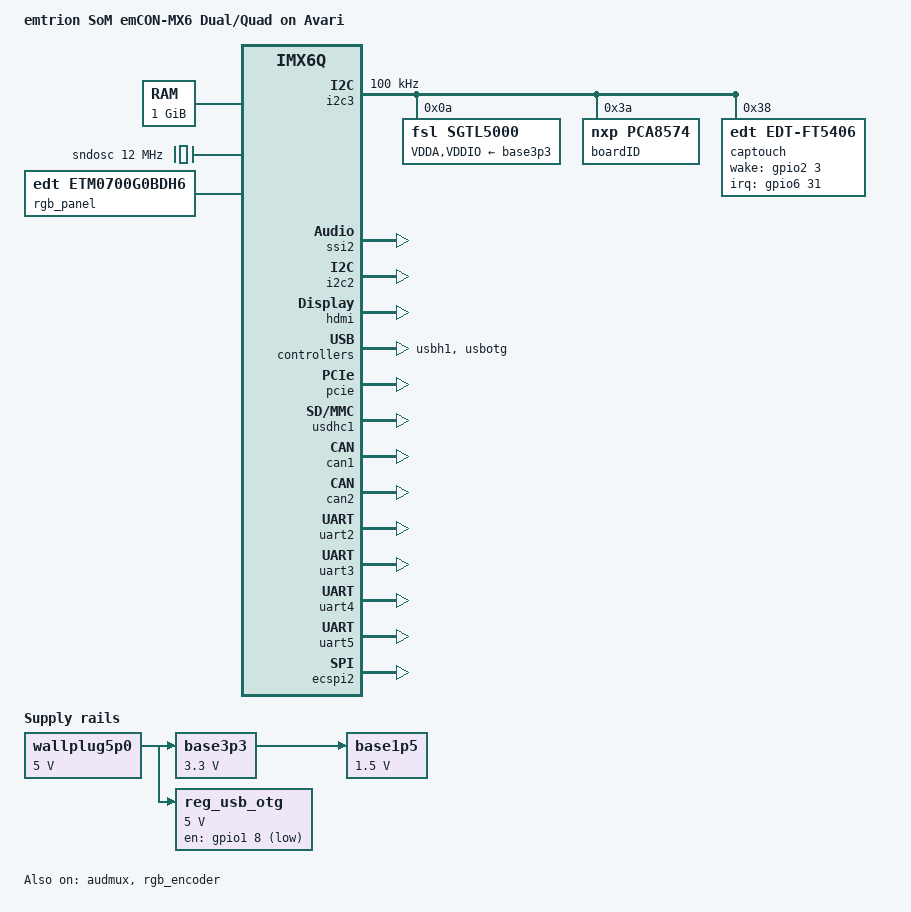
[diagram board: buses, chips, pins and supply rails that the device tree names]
/*
 * Copyright (C) 2017 emtrion GmbH
 * Author: Jan Tuerk  <jan.tuerk@emtrion.com>
 *
 * The code contained herein is licensed under the GNU General Public
 * License. You may obtain a copy of the GNU General Public License
 * Version 2 or later at the following locations:
 *
 * http://www.opensource.org/licenses/gpl-license.html
 * http://www.gnu.org/copyleft/gpl.html
 *
 * SPDX-License-Identifier: GPL-2.0
 *
 */

/dts-v1/;
#include "imx6q.dtsi"
#include "imx6qdl-emcon.dtsi"
#include "imx6q-emcon.dtsi" /*Include camera2 pinmux*/

/ {
	model = "emtrion SoM emCON-MX6 Dual/Quad on Avari";
	compatible = "emtrion,emcon-mx6-avari", "fsl,imx6q";

	aliases {
		mmc0 = &usdhc3;
		mmc2 = &usdhc1;
		mmc1 = &usdhc2;
		mmc3 = &usdhc4;
	};

	chosen {
		stdout-path = <&uart1>;
	};

	memory {
		reg = <0x10000000 0x40000000>;
	};

	supplies {
		compatible = "simple-bus";
		#address-cells = <1>;
		#size-cells = <0>;

		wallplug5p0: supply@0 {
			compatible = "regulator-fixed";
			reg = <0>;
			regulator-name = "WALL-PLUG";
			regulator-min-microvolt = <5000000>;
			regulator-max-microvolt = <5000000>;
			regulator-always-on;
			regulator-boot-on;
		};

		base3p3: supply@1 {
			compatible = "regulator-fixed";
			reg = <1>;
			vin-supply = <&wallplug5p0>;
			regulator-name = "3V3-avari";
			regulator-min-microvolt = <3300000>;
			regulator-max-microvolt = <3300000>;
			regulator-always-on;
			regulator-boot-on;
		};

		base1p5: supply@2 {
			compatible = "regulator-fixed";
			reg = <2>;
			vin-supply = <&base3p3>;
			regulator-name = "1V5-avari";
			regulator-min-microvolt = <1500000>;
			regulator-max-microvolt = <1500000>;
			regulator-always-on;
			regulator-boot-on;
		};

		reg_usb_otg: otgvbus@3 {
			compatible = "regulator-fixed";
			reg = <3>;
			vin-supply = <&wallplug5p0>;
			regulator-name = "OTG_VBUS";
			regulator-min-microvolt = <5000000>;
			regulator-max-microvolt = <5000000>;
			gpio = <&gpio1 8 GPIO_ACTIVE_LOW>;
			regulator-always-on;
		};

	};


	sndosc: 12MHZosc {
		compatible = "fixed-clock";
		#clock-cells = <0>;
		clock-frequency  = <12000000>;
	};

	sound {
		compatible = "fsl,imx-audio-sgtl5000";
		model = "emCON-avari-sgtl5000";
		ssi-controller = <&ssi2>;
		audio-codec = <&sgtl5000>;
		audio-routing =
			"Headphone Jack", "HP_OUT";
		mux-int-port = <2>;
		mux-ext-port = <3>;
	};

};


&iomuxc {
	pinctrl-names = "default";
	/*Unused emCON-MX6 pingroups on AVARI baseboard, enable defaults*/
	pinctrl-0 = <
				 &pinctrl_emcon_gpio1 &pinctrl_emcon_gpio2
				 &pinctrl_emcon_gpio3 &pinctrl_emcon_gpio5
				 &pinctrl_emcon_gpio6 &pinctrl_emcon_gpio7
				 &pinctrl_emcon_gpio8 &pinctrl_emcon_irq_a
				 &pinctrl_emcon_irq_b &pinctrl_emcon_irq_c
				 &pinctrl_emcon_irq_pwr &pinctrl_nor_flash
				 &pinctrl_usdhc2
				 &pinctrl_spdif_out     &pinctrl_spdif_in
				 &pinctrl_cpi1          &pinctrl_cpi2
				>;
};

&audmux {
	pinctrl-names = "default";
	pinctrl-0 = <&pinctrl_audmux>;
	status = "okay";
};



&i2c3 {
	clock-frequency = <100000>;
	pinctrl-names = "default";
	pinctrl-0 = <&pinctrl_i2c3>;
	status = "okay";

	sgtl5000: audo-codec@0a {
		compatible = "fsl,sgtl5000";
		reg = <0x0a>;
		clocks = <&sndosc>;
		VDDA-supply = <&base3p3>;
		VDDIO-supply = <&base3p3>;
	};

	boardID: pca8754a@3a {
		compatible = "nxp,pca8574";
		reg = <0x3a>;
		gpio-controller;
		#gpio-cells = <1>;
	};

	captouch: touchscreen@38 {
		reg = <0x38>;
		pinctrl-names = "default";
		pinctrl-0 = <&pinctrl_irq_touch2 &pinctrl_emcon_gpio4>;
		interrupt-parent = <&gpio6>;
		interrupts = <31 IRQ_TYPE_EDGE_FALLING>;
		compatible = "edt,edt-ft5406";
		wake-gpios = <&gpio2 3 GPIO_ACTIVE_HIGH>;
		wakeup-source;
	};
};

&ssi2 {
	status = "okay";
};

&rgb_encoder {
	status = "okay";
};

&rgb_panel {
	compatible = "edt,etm0700g0bdh6";
	status = "okay";
};

&i2c2 {
	status = "okay";
};

&hdmi {
	ddc-i2c-bus = <&i2c2>;
	status = "okay";
};

&usbh1 {
	status = "okay";
};

&usbotg {
	status = "okay";
};

&pcie {
	status = "okay";
};

&usdhc1 {
	status = "okay";
};

&can1 {
	status = "okay";
};

&can2 {
	status = "okay";
};

&uart2 {
	status = "okay";
	uart-has-rtscts;
};

&uart3 {
	status = "okay";
};

&uart4 {
	status = "okay";
};

&uart5 {
	status = "okay";
};

&ecspi2 {
	status = "okay";
};
